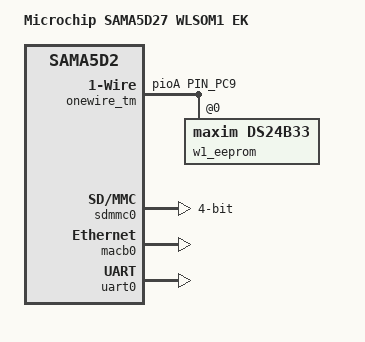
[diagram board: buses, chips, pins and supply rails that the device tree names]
// SPDX-License-Identifier: (GPL-2.0+ OR MIT)
/*
 * at91-sama5d27_wlsom1_ek.dts - Device Tree file for SAMA5D27 WLSOM1 EK
 *
 * Copyright (C) 2019 Microchip Technology Inc. and its subsidiaries
 *
 * Author: Nicolas Ferre <nicolas.ferre@microcihp.com>
 */
/dts-v1/;
#include "sama5d27_wlsom1.dtsi"

/ {
	model = "Microchip SAMA5D27 WLSOM1 EK";
	compatible = "microchip,sama5d27-wlsom1-ek", "microchip,sama5d27-wlsom1", "atmel,sama5d2", "atmel,sama5";

	chosen {
		stdout-path = &uart0;
	};

	onewire_tm: onewire {
		gpios = <&pioA PIN_PC9 0>;
		pinctrl-names = "default";
		pinctrl-0 = <&pinctrl_onewire_tm_default>;
		status = "okay";

		w1_eeprom: w1_eeprom@0 {
			compatible = "maxim,ds24b33";
			status = "okay";
		};
	};

	ahb {
		sdmmc0: sdio-host@a0000000 {
			bus-width = <4>;
			pinctrl-names = "default";
			pinctrl-0 = <&pinctrl_sdmmc0_cmd_dat_default &pinctrl_sdmmc0_ck_cd_default>;
			status = "okay";
		};

		apb {
			macb0: ethernet@f8008000 {
				status = "okay";
			};

			uart0: serial@f801c000 {
				pinctrl-names = "default";
				pinctrl-0 = <&pinctrl_uart0_default>;
				status = "okay";
			};

			pioA: gpio@fc038000 {
				pinctrl {
					pinctrl_sdmmc0_cmd_dat_default: sdmmc0_cmd_dat_default {
						pinmux = <PIN_PA1__SDMMC0_CMD>,
							 <PIN_PA2__SDMMC0_DAT0>,
							 <PIN_PA3__SDMMC0_DAT1>,
							 <PIN_PA4__SDMMC0_DAT2>,
							 <PIN_PA5__SDMMC0_DAT3>;
						bias-disable;
					};

					pinctrl_sdmmc0_ck_cd_default: sdmmc0_ck_cd_default {
						pinmux = <PIN_PA0__SDMMC0_CK>,
							 <PIN_PA11__SDMMC0_VDDSEL>,
							 <PIN_PA12__SDMMC0_WP>,
							 <PIN_PA13__SDMMC0_CD>;
						bias-disable;
					};

					pinctrl_uart0_default: uart0_default {
						pinmux = <PIN_PB26__URXD0>,
							 <PIN_PB27__UTXD0>;
						bias-disable;
					};

					pinctrl_onewire_tm_default: onewire_tm_default {
						pinmux = <PIN_PC9__GPIO>;
						bias-pull-up;
					};
				};
			};
		};
	};
};
